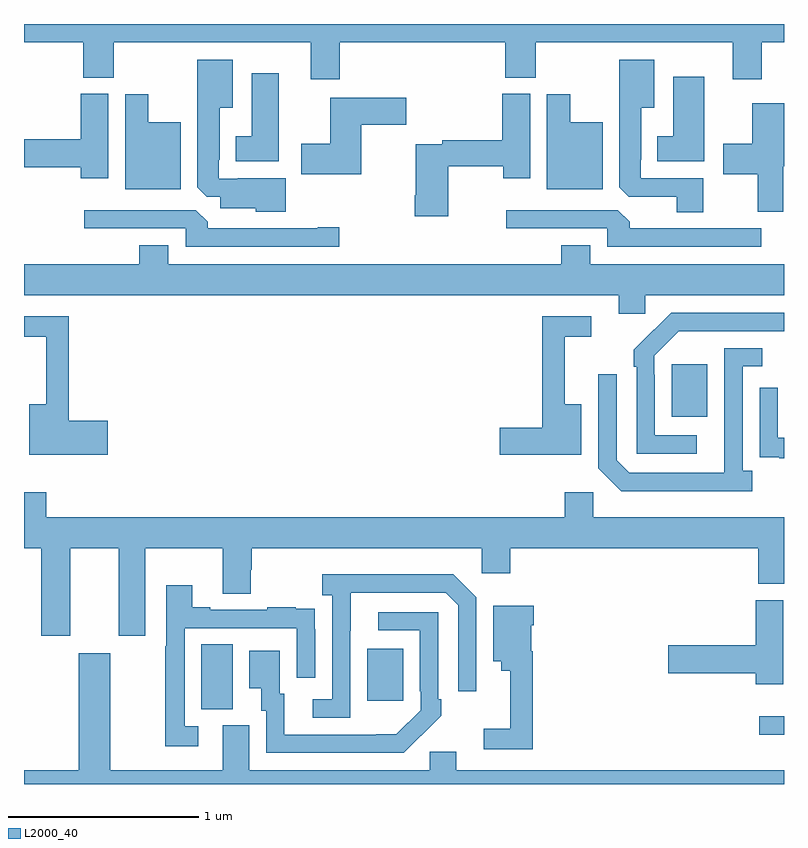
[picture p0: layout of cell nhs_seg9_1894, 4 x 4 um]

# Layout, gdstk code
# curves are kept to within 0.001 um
import gdstk
lib = gdstk.Library(unit=1e-6, precision=1e-09)
def R(c, l, rs):  # rectangles x0, y0, x1, y1
    for r in rs: c.add(gdstk.rectangle(r[:2], r[2:], *l))
def P(c, l, *ps):  # polygons
    for p in ps: c.add(gdstk.Polygon(p, *l))
L2000_40 = (2000, 40)

nhs_seg9_1894 = lib.new_cell('nhs_seg9_1894')
R(nhs_seg9_1894, L2000_40, [(220.869,1208.76,221,1208.856), (217.934,1208.893,218.098,1209.236), (218.807,1208.937,218.995,1209.211), (220.409,1210.433,220.597,1210.708)])
P(nhs_seg9_1894, L2000_40, [(218.663,1212.404),(219.533,1212.404),(219.533,1212.217),(219.693,1212.217),(219.693,1212.404),(220.73,1212.404),(220.73,1212.21),(220.883,1212.21),(220.883,1212.404),(221,1212.404),(221,1212.5),(217,1212.5),(217,1212.404),(217.313,1212.404),(217.313,1212.217),(217.473,1212.217),(217.473,1212.404),(218.51,1212.404),(218.51,1212.21),(218.663,1212.21)],
  [(220.576,1211.688),(220.245,1211.688),(220.245,1211.785),(220.249,1211.785),(220.249,1212.059),(220.318,1212.059),(220.318,1212.313),(220.133,1212.313),(220.133,1211.641),(220.182,1211.592),(220.436,1211.592),(220.436,1211.509),(220.576,1211.509)],
  [(218.377,1211.689),(218.125,1211.689),(218.125,1211.685),(218.025,1211.685),(218.025,1211.785),(218.029,1211.785),(218.029,1212.059),(218.098,1212.059),(218.098,1212.313),(217.913,1212.313),(217.913,1211.641),(217.962,1211.592),(218.033,1211.592),(218.033,1211.531),(218.22,1211.531),(218.22,1211.513),(218.377,1211.513)],
  [(218.341,1212.241),(218.198,1212.241),(218.198,1211.908),(218.114,1211.908),(218.114,1211.777),(218.341,1211.777)],
  [(220.579,1212.223),(220.418,1212.223),(220.418,1211.908),(220.334,1211.908),(220.334,1211.777),(220.579,1211.777)],
  [(217.444,1212.132),(217.298,1212.132),(217.298,1211.894),(217,1211.894),(217,1211.747),(217.298,1211.747),(217.298,1211.688),(217.444,1211.688)],
  [(219.234,1211.752),(219.523,1211.752),(219.523,1211.688),(219.664,1211.688),(219.664,1212.132),(219.518,1212.132),(219.518,1211.888),(219.202,1211.888),(219.202,1211.868),(219.061,1211.868),(219.061,1211.599),(219.056,1211.599),(219.056,1211.487),(219.234,1211.487)],
  [(220.045,1211.983),(219.874,1211.983),(219.874,1212.13),(219.752,1212.13),(219.752,1211.63),(220.045,1211.63)],
  [(217.825,1211.983),(217.654,1211.983),(217.654,1212.13),(217.532,1212.13),(217.532,1211.63),(217.825,1211.63)],
  [(218.775,1211.969),(219.013,1211.969),(219.013,1212.111),(218.612,1212.111),(218.612,1211.871),(218.46,1211.871),(218.46,1211.708),(218.775,1211.708)],
  [(220.997,1211.752),(221,1211.752),(221,1212.082),(220.832,1212.082),(220.832,1211.871),(220.68,1211.871),(220.68,1211.708),(220.862,1211.708),(220.862,1211.511),(220.997,1211.511)],
  [(220.879,1211.424),(220.187,1211.424),(220.187,1211.458),(220.125,1211.52),(219.537,1211.52),(219.537,1211.424),(220.071,1211.424),(220.071,1211.328),(220.879,1211.328)],
  [(218.659,1211.429),(218.546,1211.429),(218.546,1211.424),(217.967,1211.424),(217.967,1211.458),(217.905,1211.52),(217.317,1211.52),(217.317,1211.424),(217.851,1211.424),(217.851,1211.328),(218.659,1211.328)],
  [(220.269,1211.072),(221,1211.072),(221,1211.236),(219.979,1211.236),(219.979,1211.335),(219.827,1211.335),(219.827,1211.236),(217.759,1211.236),(217.759,1211.335),(217.607,1211.335),(217.607,1211.236),(217,1211.236),(217,1211.072),(220.13,1211.072),(220.13,1210.974),(220.269,1210.974)],
  [(220.54,1210.335),(220.32,1210.335),(220.32,1210.655),(220.317,1210.655),(220.317,1210.755),(220.446,1210.884),(221,1210.884),(221,1210.98),(220.406,1210.98),(220.209,1210.785),(220.209,1210.697),(220.224,1210.697),(220.224,1210.239),(220.54,1210.239)],
  [(217.441,1210.412),(217.235,1210.412),(217.235,1210.962),(217,1210.962),(217,1210.854),(217.118,1210.854),(217.118,1210.498),(217.028,1210.498),(217.028,1210.234),(217.441,1210.234)],
  [(219.934,1210.498),(219.845,1210.498),(219.845,1210.854),(219.985,1210.854),(219.985,1210.962),(219.727,1210.962),(219.727,1210.376),(219.504,1210.376),(219.504,1210.234),(219.934,1210.234)],
  [(220.834,1210.15),(220.782,1210.15),(220.782,1210.698),(220.885,1210.698),(220.885,1210.794),(220.686,1210.794),(220.685,1210.137),(220.185,1210.137),(220.119,1210.203),(220.119,1210.657),(220.023,1210.657),(220.023,1210.161),(220.144,1210.04),(220.834,1210.04)],
  [(221,1210.323),(220.968,1210.323),(220.968,1210.585),(220.872,1210.585),(220.872,1210.33),(220.873,1210.33),(220.873,1210.221),(220.975,1210.221),(220.975,1210.215),(221,1210.215)],
  [(217.243,1209.74),(217.499,1209.74),(217.499,1209.279),(217.639,1209.279),(217.639,1209.74),(218.045,1209.74),(218.045,1209.502),(218.193,1209.502),(218.193,1209.627),(218.198,1209.627),(218.198,1209.74),(219.408,1209.74),(219.408,1209.609),(219.56,1209.609),(219.56,1209.74),(220.865,1209.74),(220.865,1209.553),(221,1209.553),(221,1209.904),(219.996,1209.904),(219.996,1210.036),(219.845,1210.036),(219.845,1209.904),(217.118,1209.904),(217.118,1210.036),(217,1210.036),(217,1209.74),(217.091,1209.74),(217.091,1209.279),(217.243,1209.279)],
  [(218.718,1209.307),(218.719,1209.507),(219.219,1209.507),(219.285,1209.441),(219.285,1208.988),(219.381,1208.988),(219.381,1209.483),(219.26,1209.604),(218.571,1209.604),(218.571,1209.494),(218.622,1209.494),(218.622,1208.946),(218.52,1208.946),(218.52,1208.85),(218.718,1208.85)],
  [(217.918,1208.805),(217.845,1208.805),(217.845,1209.321),(218.436,1209.321),(218.436,1209.06),(218.532,1209.06),(218.532,1209.314),(218.531,1209.314),(218.531,1209.423),(218.429,1209.423),(218.429,1209.43),(218.281,1209.43),(218.281,1209.417),(217.981,1209.417),(217.981,1209.43),(217.885,1209.43),(217.885,1209.547),(217.749,1209.547),(217.749,1209.224),(217.744,1209.224),(217.744,1208.7),(217.918,1208.7)],
  [(220.996,1209.468),(220.85,1209.468),(220.85,1209.23),(220.392,1209.23),(220.392,1209.083),(220.85,1209.083),(220.85,1209.024),(220.996,1209.024)],
  [(219.677,1209.199),(219.67,1209.199),(219.67,1209.335),(219.683,1209.335),(219.683,1209.439),(219.47,1209.439),(219.47,1209.146),(219.512,1209.146),(219.512,1209.095),(219.56,1209.095),(219.56,1208.791),(219.42,1208.791),(219.42,1208.682),(219.677,1208.682)],
  [(219.089,1208.755),(219.09,1208.754),(219.195,1208.859),(219.195,1208.947),(219.18,1208.947),(219.18,1209.405),(218.865,1209.405),(218.865,1209.309),(219.084,1209.309),(219.084,1208.989),(219.087,1208.989),(219.087,1208.889),(218.959,1208.761),(218.371,1208.76),(218.371,1208.976),(218.347,1208.976),(218.347,1209.202),(218.186,1209.202),(218.186,1209.005),(218.249,1209.005),(218.249,1208.886),(218.274,1208.886),(218.274,1208.664),(218.998,1208.664)],
  [(221,1208.572),(219.274,1208.572),(219.274,1208.67),(219.135,1208.67),(219.135,1208.572),(218.185,1208.572),(218.185,1208.808),(218.045,1208.808),(218.045,1208.572),(217.453,1208.572),(217.453,1209.187),(217.289,1209.187),(217.289,1208.572),(217,1208.572),(217,1208.5),(221,1208.5)])

lib.write_gds('nhs_seg9_1894.gds')
